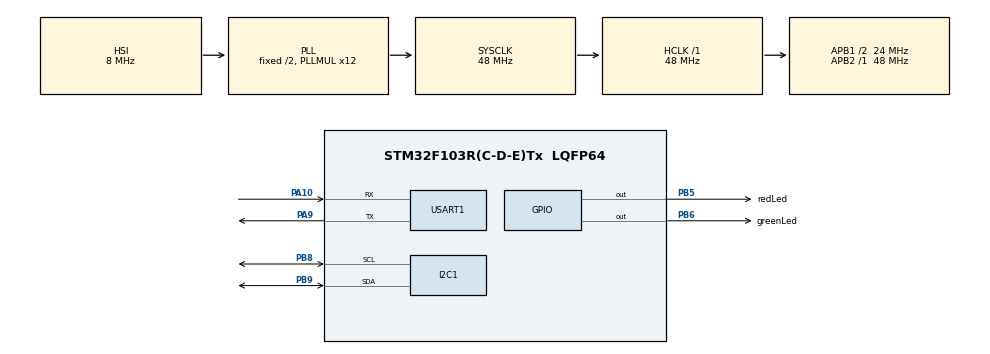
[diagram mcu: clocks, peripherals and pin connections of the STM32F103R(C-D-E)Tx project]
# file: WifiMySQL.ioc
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FREERTOS.Tasks01=defaultTask,0,128,StartDefaultTask,Default,NULL,Dynamic,NULL,NULL
Mcu.Family=STM32F1
Mcu.Name=STM32F103R(C-D-E)Tx
Mcu.Package=LQFP64
NVIC.PriorityGroup=NVIC_PRIORITYGROUP_4
NVIC.USART1_IRQn=true\:5\:0\:false\:false\:true\:true\:true\:true\:true
PA10.Mode=Asynchronous
PA10.Signal=USART1_RX
PA13.Mode=Serial_Wire
PA13.Signal=SYS_JTMS-SWDIO
PA14.Mode=Serial_Wire
PA14.Signal=SYS_JTCK-SWCLK
PA9.Mode=Asynchronous
PA9.Signal=USART1_TX
PB5.GPIO_Label=redLed
PB5.Signal=GPIO_Output
PB6.GPIO_Label=greenLed
PB6.Signal=GPIO_Output
PB8.Mode=I2C
PB8.Signal=I2C1_SCL
PB9.Mode=I2C
PB9.Signal=I2C1_SDA
PD0-OSC_IN.Mode=HSE-External-Oscillator
PD0-OSC_IN.Signal=RCC_OSC_IN
PD1-OSC_OUT.Mode=HSE-External-Oscillator
PD1-OSC_OUT.Signal=RCC_OSC_OUT
ProjectManager.HeapSize=0x200
ProjectManager.StackSize=0x400
ProjectManager.TargetToolchain=STM32CubeIDE
RCC.AHBFreq_Value=48000000
RCC.APB1CLKDivider=RCC_HCLK_DIV2
RCC.APB1Freq_Value=24000000
RCC.APB1TimFreq_Value=48000000
RCC.APB2Freq_Value=48000000
RCC.APB2TimFreq_Value=48000000
RCC.HCLKFreq_Value=48000000
RCC.HSEDivPLL=RCC_HSE_PREDIV_DIV2
RCC.PLLMUL=RCC_PLL_MUL12
RCC.SYSCLKFreq_VALUE=48000000
RCC.SYSCLKSource=RCC_SYSCLKSOURCE_PLLCLK
RCC.USBFreq_Value=48000000
USART1.VirtualMode=VM_ASYNC
VP_FREERTOS_VS_CMSIS_V1.Mode=CMSIS_V1
board=custom

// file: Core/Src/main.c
/* USER CODE BEGIN Header */
/**
  ******************************************************************************
  * @file           : main.c
  * @brief          : Main program body
  ******************************************************************************
  * @attention
  *
  * Copyright (c) 2023 STMicroelectronics.
  * All rights reserved.
  *
  * This software is licensed under terms that can be found in the LICENSE file
  * in the root directory of this software component.
  * If no LICENSE file comes with this software, it is provided AS-IS.
  *
  ******************************************************************************
  */
/* USER CODE END Header */
#include "main.h"
#include "cmsis_os.h"

I2C_HandleTypeDef hi2c1;
UART_HandleTypeDef huart1;

osThreadId defaultTaskHandle;
/* USER CODE BEGIN PV */
/* WiFi Configuration */
char* ssid = "iPhone SE (2nd generation)";
char* password = "asdasd00991";

/* Server Configuration */
char* server1 = "yst.com.tr";
char* server2 = "yst.com.tr";
char* api1 = "/api/api.php";
char* api2 = "/api/api2.php";

char* response[100];

/* LED Control Variables */
uint8_t greenLedStatus = 0;
uint8_t redLedStatus = 0;
/* USER CODE END PV */

void SystemClock_Config(void);
static void MX_GPIO_Init(void);
static void MX_USART1_UART_Init(void);
static void MX_I2C1_Init(void);
void StartDefaultTask(void const * argument);

/* USER CODE BEGIN 0 */
void WiFi_Init(void);
void WiFi_Connect(void);
void Send_GET_Request(char* server, char* api, uint8_t led);

void LED_Task1(void *pvParameters);
void LED_Task2(void *pvParameters);
void WifiTask(void *pvParameters);

#define WIFI_TASK_PRIORITY 1
#define WIFI_TASK_STACK_SIZE 512
/* USER CODE END 0 */

int main(void)
{

  /* MCU Configuration--------------------------------------------------------*/

  /* Reset of all peripherals, Initializes the Flash interface and the Systick. */
  HAL_Init();

  /* Configure the system clock */
  SystemClock_Config();

  /* Initialize all configured peripherals */
  MX_GPIO_Init();
  MX_USART1_UART_Init();
  MX_I2C1_Init();

  /* Create the thread(s) */
  /* definition and creation of defaultTask */
  osThreadDef(defaultTask, StartDefaultTask, osPriorityNormal, 0, 128);
  defaultTaskHandle = osThreadCreate(osThread(defaultTask), NULL);

  xTaskCreate(LED_Task1, "LED_Task1", configMINIMAL_STACK_SIZE, NULL, tskIDLE_PRIORITY + 1, NULL);
  //xTaskCreate(LED_Task2, "LED_Task2", configMINIMAL_STACK_SIZE, NULL, tskIDLE_PRIORITY + 1, NULL);
  xTaskCreate(WifiTask, "WifiTask", WIFI_TASK_STACK_SIZE, NULL, WIFI_TASK_PRIORITY, NULL);
  /* Start scheduler */
  osKernelStart();
  /* We should never get here as control is now taken by the scheduler */
  /* Infinite loop */
  /* USER CODE BEGIN WHILE */
  while (1)
      {
        //main loop
      }
  /* USER CODE END 3 */
}

void WifiTask(void *pvParameters)
{
  HAL_UART_Transmit(&huart1, (uint8_t *)"AT+CWJAP=\"ONDERLIFT_PERSONEL\",\"PersonelOt2022*-\"\r\n", strlen("AT+CWJAP=\"ONDERLIFT_PERSONEL\",\"PersonelOt2022*-\"\r\n"), HAL_MAX_DELAY);
  HAL_Delay(500);

  HAL_UART_Transmit(&huart1, (uint8_t *)"AT+CIPSTART=0,\"TCP\",\"yst.com.tr\",80\r\n", strlen("AT+CIPSTART=0,\"TCP\",\"yst.com.tr\",80\r\n"), HAL_MAX_DELAY);
  HAL_Delay(500);

  HAL_UART_Transmit(&huart1, (uint8_t *)"AT+CIPSEND=0,43\r\n", strlen("AT+CIPSEND=0,43\r\n"), HAL_MAX_DELAY);
  HAL_Delay(500);

  HAL_UART_Transmit(&huart1, (uint8_t *)"GET /api/api.php HTTP/1.1\r\nHost: yst.com.tr\r\n\r\n", strlen("GET /api/api.php HTTP/1.1\r\nHost: yst.com.tr\r\n\r\n"), HAL_MAX_DELAY);
  HAL_Delay(500);

  char responseBuffer[256];
  memset(responseBuffer, 0, sizeof(responseBuffer));
  //HAL_UART_Receive(&huart1, (uint8_t *)responseBuffer, sizeof(responseBuffer) - 1, HAL_MAX_DELAY);
  uint16_t responseLength = 0;
  while (responseLength < sizeof(responseBuffer) - 1)
  {
    uint16_t bytesRead = HAL_UART_Receive(&huart1, (uint8_t *)(responseBuffer + responseLength), sizeof(responseBuffer) - responseLength - 1, HAL_MAX_DELAY);
    responseLength += bytesRead;

    if (strstr(responseBuffer, "\r\n\r\n") != NULL)
    {
      break;
    }
  }

  if (strstr(responseBuffer, "\"greenLed\":\"1\"") != NULL)
  {
    HAL_GPIO_WritePin(GPIOB, GPIO_PIN_6, GPIO_PIN_SET);
  }
  else
  {
    HAL_GPIO_WritePin(GPIOB, GPIO_PIN_6, GPIO_PIN_RESET);
  }

  while (1)
  {
    vTaskDelay(pdMS_TO_TICKS(1000));
  }
}

void LED_Task1(void *pvParameters)
{
  while (1)
  {
	HAL_GPIO_WritePin(GPIOB, GPIO_PIN_5, GPIO_PIN_SET);

    vTaskDelay(pdMS_TO_TICKS(500));

    HAL_GPIO_WritePin(GPIOB, GPIO_PIN_5, GPIO_PIN_RESET);

    vTaskDelay(pdMS_TO_TICKS(500));
  }
}

void LED_Task2(void *pvParameters)
{
  while (1)
  {
	HAL_GPIO_WritePin(GPIOB, GPIO_PIN_6, GPIO_PIN_SET);

    vTaskDelay(pdMS_TO_TICKS(1000));

    HAL_GPIO_WritePin(GPIOB, GPIO_PIN_6, GPIO_PIN_RESET);

    vTaskDelay(pdMS_TO_TICKS(1000));
  }
}

void SystemClock_Config(void)
{
  RCC_OscInitTypeDef RCC_OscInitStruct = {0};
  RCC_ClkInitTypeDef RCC_ClkInitStruct = {0};

  /** Initializes the RCC Oscillators according to the specified parameters
  * in the RCC_OscInitTypeDef structure.
  */
  RCC_OscInitStruct.OscillatorType = RCC_OSCILLATORTYPE_HSI;
  RCC_OscInitStruct.HSIState = RCC_HSI_ON;
  RCC_OscInitStruct.HSICalibrationValue = RCC_HSICALIBRATION_DEFAULT;
  RCC_OscInitStruct.PLL.PLLState = RCC_PLL_ON;
  RCC_OscInitStruct.PLL.PLLSource = RCC_PLLSOURCE_HSI_DIV2;
  RCC_OscInitStruct.PLL.PLLMUL = RCC_PLL_MUL12;
  if (HAL_RCC_OscConfig(&RCC_OscInitStruct) != HAL_OK)
  {
    Error_Handler();
  }

  /** Initializes the CPU, AHB and APB buses clocks
  */
  RCC_ClkInitStruct.ClockType = RCC_CLOCKTYPE_HCLK|RCC_CLOCKTYPE_SYSCLK
                              |RCC_CLOCKTYPE_PCLK1|RCC_CLOCKTYPE_PCLK2;
  RCC_ClkInitStruct.SYSCLKSource = RCC_SYSCLKSOURCE_PLLCLK;
  RCC_ClkInitStruct.AHBCLKDivider = RCC_SYSCLK_DIV1;
  RCC_ClkInitStruct.APB1CLKDivider = RCC_HCLK_DIV2;
  RCC_ClkInitStruct.APB2CLKDivider = RCC_HCLK_DIV1;

  if (HAL_RCC_ClockConfig(&RCC_ClkInitStruct, FLASH_LATENCY_1) != HAL_OK)
  {
    Error_Handler();
  }
}

static void MX_I2C1_Init(void)
{

  hi2c1.Instance = I2C1;
  hi2c1.Init.ClockSpeed = 100000;
  hi2c1.Init.DutyCycle = I2C_DUTYCYCLE_2;
  hi2c1.Init.OwnAddress1 = 0;
  hi2c1.Init.AddressingMode = I2C_ADDRESSINGMODE_7BIT;
  hi2c1.Init.DualAddressMode = I2C_DUALADDRESS_DISABLE;
  hi2c1.Init.OwnAddress2 = 0;
  hi2c1.Init.GeneralCallMode = I2C_GENERALCALL_DISABLE;
  hi2c1.Init.NoStretchMode = I2C_NOSTRETCH_DISABLE;
  if (HAL_I2C_Init(&hi2c1) != HAL_OK)
  {
    Error_Handler();
  }

}

static void MX_USART1_UART_Init(void)
{

  /*huart1.Instance = USART1;
  huart1.Init.BaudRate = 115200;
  huart1.Init.WordLength = UART_WORDLENGTH_8B;
  huart1.Init.StopBits = UART_STOPBITS_1;
  huart1.Init.Parity = UART_PARITY_NONE;
  huart1.Init.Mode = UART_MODE_TX_RX;
  huart1.Init.HwFlowCtl = UART_HWCONTROL_NONE;
  huart1.Init.OverSampling = UART_OVERSAMPLING_16;
  if (HAL_UART_Init(&huart1) != HAL_OK)
  {
    Error_Handler();
  }*/

}

static void MX_GPIO_Init(void)
{
  GPIO_InitTypeDef GPIO_InitStruct = {0};

  /* GPIO Ports Clock Enable */
  __HAL_RCC_GPIOD_CLK_ENABLE();
  __HAL_RCC_GPIOA_CLK_ENABLE();
  __HAL_RCC_GPIOB_CLK_ENABLE();

  /*Configure GPIO pin Output Level */
  HAL_GPIO_WritePin(GPIOB, redLed_Pin|greenLed_Pin, GPIO_PIN_RESET);

  /*Configure GPIO pins : redLed_Pin greenLed_Pin */
  GPIO_InitStruct.Pin = redLed_Pin|greenLed_Pin;
  GPIO_InitStruct.Mode = GPIO_MODE_OUTPUT_PP;
  GPIO_InitStruct.Pull = GPIO_NOPULL;
  GPIO_InitStruct.Speed = GPIO_SPEED_FREQ_LOW;
  HAL_GPIO_Init(GPIOB, &GPIO_InitStruct);

}

void StartDefaultTask(void const * argument)
{
  for(;;)
  {
    osDelay(1);
  }
}

void Error_Handler(void)
{
  __disable_irq();
  while (1)
  {
  }
}
